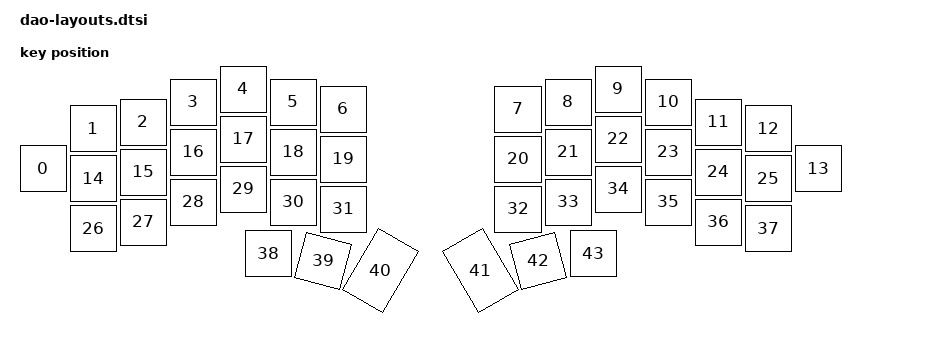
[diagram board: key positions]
/*
 * Physical layout for Dao 44 (ZMK Studio support).
 * Coordinates from config/info.json (dao-zmk-config), key order matches extra_keys_transform.
 *
 * SPDX-License-Identifier: MIT
 */

#include <physical_layouts.dtsi>

/ {
	dao_physical_layout: dao_physical_layout {
		compatible = "zmk,physical-layout";
		display-name = "Dao 44";
		transform = <&extra_keys_transform>;
		kscan = <&kscan0>;
		keys  //                     w   h    x    y     rot    rx    ry
            = <&key_physical_attrs 100 100    0  159       0     0     0>
            , <&key_physical_attrs 100 100  100   79       0     0     0>
            , <&key_physical_attrs 100 100  200   66       0     0     0>
            , <&key_physical_attrs 100 100  300   26       0     0     0>
            , <&key_physical_attrs 100 100  400    0       0     0     0>
            , <&key_physical_attrs 100 100  500   26       0     0     0>
            , <&key_physical_attrs 100 100  600   40       0     0     0>
            , <&key_physical_attrs 100 100  950   40       0     0     0>
            , <&key_physical_attrs 100 100 1050   26       0     0     0>
            , <&key_physical_attrs 100 100 1150    0       0     0     0>
            , <&key_physical_attrs 100 100 1250   26       0     0     0>
            , <&key_physical_attrs 100 100 1350   66       0     0     0>
            , <&key_physical_attrs 100 100 1450   79       0     0     0>
            , <&key_physical_attrs 100 100 1550  159       0     0     0>
            , <&key_physical_attrs 100 100  100  179       0     0     0>
            , <&key_physical_attrs 100 100  200  166       0     0     0>
            , <&key_physical_attrs 100 100  300  126       0     0     0>
            , <&key_physical_attrs 100 100  400  100       0     0     0>
            , <&key_physical_attrs 100 100  500  126       0     0     0>
            , <&key_physical_attrs 100 100  600  140       0     0     0>
            , <&key_physical_attrs 100 100  950  140       0     0     0>
            , <&key_physical_attrs 100 100 1050  126       0     0     0>
            , <&key_physical_attrs 100 100 1150  100       0     0     0>
            , <&key_physical_attrs 100 100 1250  126       0     0     0>
            , <&key_physical_attrs 100 100 1350  166       0     0     0>
            , <&key_physical_attrs 100 100 1450  179       0     0     0>
            , <&key_physical_attrs 100 100  100  279       0     0     0>
            , <&key_physical_attrs 100 100  200  266       0     0     0>
            , <&key_physical_attrs 100 100  300  226       0     0     0>
            , <&key_physical_attrs 100 100  400  200       0     0     0>
            , <&key_physical_attrs 100 100  500  226       0     0     0>
            , <&key_physical_attrs 100 100  600  240       0     0     0>
            , <&key_physical_attrs 100 100  950  240       0     0     0>
            , <&key_physical_attrs 100 100 1050  226       0     0     0>
            , <&key_physical_attrs 100 100 1150  200       0     0     0>
            , <&key_physical_attrs 100 100 1250  226       0     0     0>
            , <&key_physical_attrs 100 100 1350  266       0     0     0>
            , <&key_physical_attrs 100 100 1450  279       0     0     0>
            , <&key_physical_attrs 100 100  450  329       0     0     0>
            , <&key_physical_attrs 100 100  560  344    1500   610   394>
            , <&key_physical_attrs 100 150  675  338    3000   725   413>
            , <&key_physical_attrs 100 150  875  338 (-3000)   925   413>
            , <&key_physical_attrs 100 100  990  344 (-1500)  1040   394>
            , <&key_physical_attrs 100 100 1100  329       0     0     0>
            ;
	};
};
